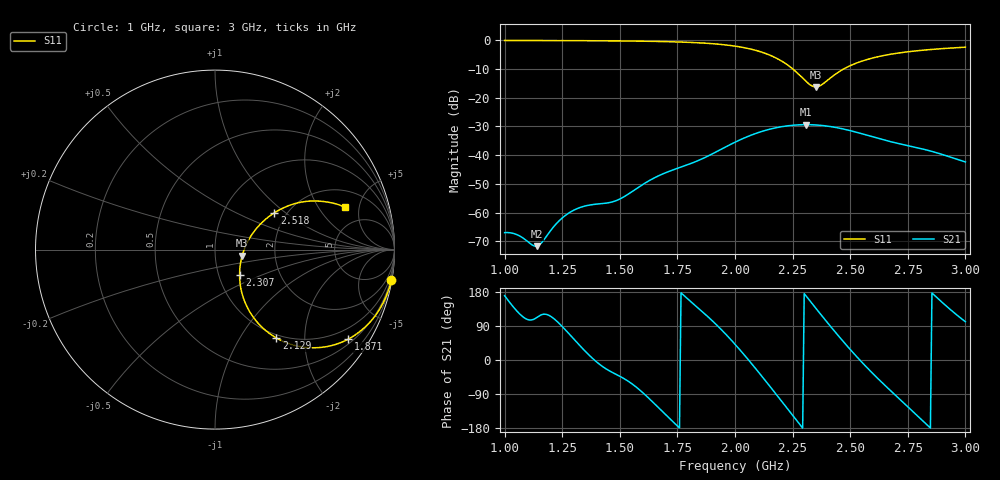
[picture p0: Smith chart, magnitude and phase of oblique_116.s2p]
! TOUCHSTONE file generated by CST MICROWAVE STUDIO
! Date and time: Tue Mar 18 00:02:05 2025
! Project name: oblique.cst
! Parameters = {Tilt=40; Fracture=1; B=10; D=160; F=5; Feed=2.85625; L=100; M=50; R=0.384908; S=1; Theta=180; length=57.125; wave=114.25}
! Header version: 2024
! Port assignment regex: !\s*Touchstone port\s*([0-9]+)\s*=\s*(CST MWS port|CST DES external port|CST DES block port)\s*(.+)\s* \(\"(.*)\"\)(\s*mode\s*([0-9]+))?.*
! Touchstone port assignment:
! Touchstone port 1 = CST MWS port 1 ("")
! Touchstone port 2 = CST MWS port 2 ("")
# GHz S DB R 50
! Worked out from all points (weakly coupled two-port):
!   304 points, 1 GHz to 3 GHz, reference 50 ohm
!   highest |S21| = -29.36 dB at 2.307 GHz (marker M1); lowest = -71.7 dB at 1.139 GHz (marker M2)
!   lowest |S11| = -16.2 dB at 2.353 GHz (marker M3), VSWR 1.37, Z = 67.7 - j4.57 ohm
!   |S11| at or under -10 dB: 2.251 GHz to 2.471 GHz (219.4 MHz wide, 9.29 % of centre)
!   S12 and S22 are empty: the file has one direction only
!   S11 on the Smith chart (normalised r, x): 1 GHz: 0, -12; 1.871 GHz: 0.63, -3.16; 2.129 GHz: 0.95, -1.46; 2.307 GHz: 1.26, -0.36; 2.518 GHz: 1.73, +0.84; 3 GHz: 3.18, +3.57
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1  -0.02 -9.8  -66.99 169.8  -200.00 0.0  -200.00 0.0
1.05281  -0.03 -10.5  -67.67 129.5  -200.00 0.0  -200.00 0.0
1.13861  -0.04 -11.8  -71.71 111.8  -200.00 0.0  -200.00 0.0
1.15842  -0.05 -12.1  -70.70 119.1  -200.00 0.0  -200.00 0.0
1.21122  -0.06 -12.9  -65.10 110.4  -200.00 0.0  -200.00 0.0
1.25083  -0.07 -13.6  -61.82 87.9  -200.00 0.0  -200.00 0.0
1.33663  -0.10 -15.2  -57.99 31.4  -200.00 0.0  -200.00 0.0
1.48845  -0.18 -18.6  -55.70 -39.4  -200.00 0.0  -200.00 0.0
1.66667  -0.37 -24.1  -47.25 -125.0  -200.00 0.0  -200.00 0.0
1.87129  -0.97 -33.9  -40.75 120.3  -200.00 0.0  -200.00 0.0
2.0033  -2.04 -43.7  -35.36 39.3  -200.00 0.0  -200.00 0.0
2.12871  -4.44 -55.2  -31.43 -52.1  -200.00 0.0  -200.00 0.0
2.22112  -8.16 -60.8  -29.84 -123.3  -200.00 0.0  -200.00 0.0
2.30693  -14.18 -45.5  -29.36 170.1  -200.00 0.0  -200.00 0.0
2.33993  -16.06 -23.3  -29.42 144.8  -200.00 0.0  -200.00 0.0
2.35314  -16.19 -12.3  -29.48 134.8  -200.00 0.0  -200.00 0.0
2.37954  -15.27 7.1  -29.67 114.8  -200.00 0.0  -200.00 0.0
2.43234  -11.98 26.3  -30.27 75.7  -200.00 0.0  -200.00 0.0
2.51815  -8.18 31.8  -31.82 15.5  -200.00 0.0  -200.00 0.0
2.66997  -4.90 28.1  -35.18 -78.0  -200.00 0.0  -200.00 0.0
2.84818  -3.18 22.2  -38.54 -179.5  -200.00 0.0  -200.00 0.0
3  -2.37 18.1  -42.37 101.1  -200.00 0.0  -200.00 0.0
